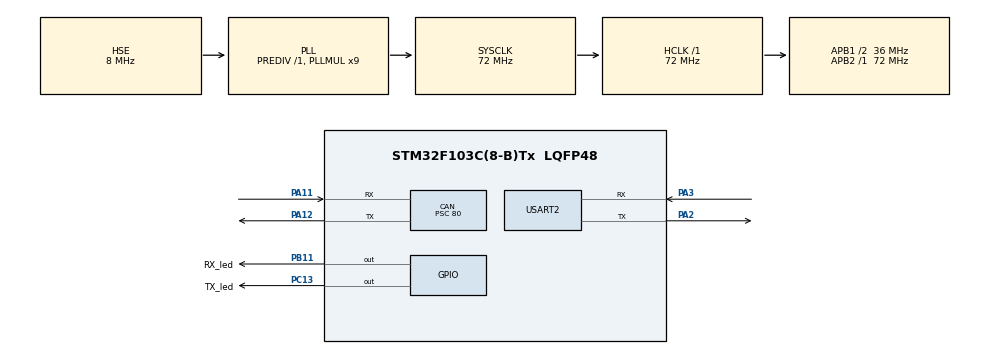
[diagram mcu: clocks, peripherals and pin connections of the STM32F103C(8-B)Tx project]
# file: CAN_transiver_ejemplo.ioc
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CAN.BS1=CAN_BS1_4TQ
CAN.BS2=CAN_BS2_4TQ
CAN.CalculateBaudRate=50000
CAN.CalculateTimeBit=20000
CAN.CalculateTimeQuantum=2222.222222222222
CAN.Prescaler=80
Mcu.Family=STM32F1
Mcu.Name=STM32F103C(8-B)Tx
Mcu.Package=LQFP48
NVIC.CAN1_RX1_IRQn=true\:0\:0\:false\:false\:true\:true\:true\:true
NVIC.PriorityGroup=NVIC_PRIORITYGROUP_4
NVIC.USART2_IRQn=true\:0\:0\:false\:false\:true\:true\:true\:true
PA11.GPIO_PuPd=GPIO_PULLUP
PA11.Mode=CAN_Activate
PA11.Signal=CAN_RX
PA12.Mode=CAN_Activate
PA12.Signal=CAN_TX
PA13.Mode=Serial_Wire
PA13.Signal=SYS_JTMS-SWDIO
PA14.Mode=Serial_Wire
PA14.Signal=SYS_JTCK-SWCLK
PA2.Mode=Asynchronous
PA2.Signal=USART2_TX
PA3.Mode=Asynchronous
PA3.Signal=USART2_RX
PB11.GPIO_Label=RX_led
PB11.Signal=GPIO_Output
PB13.Signal=EVENTOUT
PC13-TAMPER-RTC.GPIO_Label=TX_led
PC13-TAMPER-RTC.GPIO_ModeDefaultOutputPP=GPIO_MODE_OUTPUT_OD
PC13-TAMPER-RTC.GPIO_PuPd=GPIO_NOPULL
PC13-TAMPER-RTC.GPIO_Speed=GPIO_SPEED_FREQ_HIGH
PC13-TAMPER-RTC.PinState=GPIO_PIN_SET
PC13-TAMPER-RTC.Signal=GPIO_Output
PD0-OSC_IN.Mode=HSE-External-Oscillator
PD0-OSC_IN.Signal=RCC_OSC_IN
PD1-OSC_OUT.Mode=HSE-External-Oscillator
PD1-OSC_OUT.Signal=RCC_OSC_OUT
ProjectManager.HeapSize=0x200
ProjectManager.StackSize=0x400
ProjectManager.TargetToolchain=STM32CubeIDE
RCC.AHBFreq_Value=72000000
RCC.APB1CLKDivider=RCC_HCLK_DIV2
RCC.APB1Freq_Value=36000000
RCC.APB1TimFreq_Value=72000000
RCC.APB2Freq_Value=72000000
RCC.APB2TimFreq_Value=72000000
RCC.HCLKFreq_Value=72000000
RCC.PLLMUL=RCC_PLL_MUL9
RCC.PLLSourceVirtual=RCC_PLLSOURCE_HSE
RCC.SYSCLKFreq_VALUE=72000000
RCC.SYSCLKSource=RCC_SYSCLKSOURCE_PLLCLK
RCC.USBFreq_Value=72000000
USART2.VirtualMode=VM_ASYNC
board=custom

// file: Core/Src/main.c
/* USER CODE BEGIN Header */
/**
  ******************************************************************************
  * @file           : main.c
  * @brief          : Main program body
  ******************************************************************************
  * @attention
  *
  * Copyright (c) 2024 STMicroelectronics.
  * All rights reserved.
  *
  * This software is licensed under terms that can be found in the LICENSE file
  * in the root directory of this software component.
  * If no LICENSE file comes with this software, it is provided AS-IS.
  *
  ******************************************************************************
  */
/* USER CODE END Header */
#include "main.h"

/* USER CODE BEGIN Includes */
//NATIVAS DE C
#include "stdio.h"
#include "string.h"
#include "stdbool.h"
//PROPIAS

/* USER CODE END Includes */

/* USER CODE BEGIN PD */
#define ID_reciver 0x0A //ID del receptor
#define ID_transferee 0x0B //ID del transsmisor, este mcu
/* USER CODE END PD */

CAN_HandleTypeDef hcan;

UART_HandleTypeDef huart2;

/* USER CODE BEGIN PV */

//Objectos del CAN
CAN_TxHeaderTypeDef   TxHeader;
CAN_RxHeaderTypeDef   RxHeader;
CAN_FilterTypeDef canfilterconfig;
//buffers del CAN tx
uint8_t TxData[] = {'H','o','l','a',' ','?','?','?'};
uint8_t RxData[8] = {0};
uint32_t TxMailbox;

/* USER CODE END PV */

void SystemClock_Config(void);
static void MX_GPIO_Init(void);
static void MX_CAN_Init(void);
static void MX_USART2_UART_Init(void);

/* USER CODE BEGIN 0 */

//BANDERAS
bool datacheck = false;

//MSG Fijos para uart
uint8_t msg_ok[] = "OK_IN\r\n";

/* USER CODE END 0 */

int main(void)
{

  /* MCU Configuration--------------------------------------------------------*/

  /* Reset of all peripherals, Initializes the Flash interface and the Systick. */
  HAL_Init();

  /* Configure the system clock */
  SystemClock_Config();

  /* Initialize all configured peripherals */
  MX_GPIO_Init();
  MX_CAN_Init();
  MX_USART2_UART_Init();
  /* USER CODE BEGIN 2 */

  HAL_CAN_Start(&hcan);
  HAL_CAN_ActivateNotification(&hcan, CAN_IT_RX_FIFO0_MSG_PENDING);

  /* USER CODE END 2 */

  /* Infinite loop */
  while (1)
  {

    /* USER CODE BEGIN 3 */

	  /*
	   * MANDAMOS INFO AL BUS
	   */
	if (HAL_CAN_AddTxMessage(&hcan, &TxHeader, TxData, &TxMailbox) != HAL_OK) {
		Error_Handler();
	}else { //No hubo problema en lanzar la informacion
		for (int i = 0; i < 4; i++)
		{
			HAL_GPIO_TogglePin(TX_led_GPIO_Port, TX_led_Pin);
			HAL_Delay(50);
		}
		HAL_Delay(5000);
	}

	/*
	 * REVIMOS INFO
	 */
  }
  /* USER CODE END 3 */
}

void SystemClock_Config(void)
{
  RCC_OscInitTypeDef RCC_OscInitStruct = {0};
  RCC_ClkInitTypeDef RCC_ClkInitStruct = {0};

  /** Initializes the RCC Oscillators according to the specified parameters
  * in the RCC_OscInitTypeDef structure.
  */
  RCC_OscInitStruct.OscillatorType = RCC_OSCILLATORTYPE_HSE;
  RCC_OscInitStruct.HSEState = RCC_HSE_ON;
  RCC_OscInitStruct.HSEPredivValue = RCC_HSE_PREDIV_DIV1;
  RCC_OscInitStruct.HSIState = RCC_HSI_ON;
  RCC_OscInitStruct.PLL.PLLState = RCC_PLL_ON;
  RCC_OscInitStruct.PLL.PLLSource = RCC_PLLSOURCE_HSE;
  RCC_OscInitStruct.PLL.PLLMUL = RCC_PLL_MUL9;
  if (HAL_RCC_OscConfig(&RCC_OscInitStruct) != HAL_OK)
  {
    Error_Handler();
  }

  /** Initializes the CPU, AHB and APB buses clocks
  */
  RCC_ClkInitStruct.ClockType = RCC_CLOCKTYPE_HCLK|RCC_CLOCKTYPE_SYSCLK
                              |RCC_CLOCKTYPE_PCLK1|RCC_CLOCKTYPE_PCLK2;
  RCC_ClkInitStruct.SYSCLKSource = RCC_SYSCLKSOURCE_PLLCLK;
  RCC_ClkInitStruct.AHBCLKDivider = RCC_SYSCLK_DIV1;
  RCC_ClkInitStruct.APB1CLKDivider = RCC_HCLK_DIV2;
  RCC_ClkInitStruct.APB2CLKDivider = RCC_HCLK_DIV1;

  if (HAL_RCC_ClockConfig(&RCC_ClkInitStruct, FLASH_LATENCY_2) != HAL_OK)
  {
    Error_Handler();
  }
}

static void MX_CAN_Init(void)
{

  hcan.Instance = CAN1;
  hcan.Init.Prescaler = 80;
  hcan.Init.Mode = CAN_MODE_NORMAL;
  hcan.Init.SyncJumpWidth = CAN_SJW_1TQ;
  hcan.Init.TimeSeg1 = CAN_BS1_4TQ;
  hcan.Init.TimeSeg2 = CAN_BS2_4TQ;
  hcan.Init.TimeTriggeredMode = DISABLE;
  hcan.Init.AutoBusOff = DISABLE;
  hcan.Init.AutoWakeUp = DISABLE;
  hcan.Init.AutoRetransmission = DISABLE;
  hcan.Init.ReceiveFifoLocked = DISABLE;
  hcan.Init.TransmitFifoPriority = DISABLE;
  if (HAL_CAN_Init(&hcan) != HAL_OK)
  {
    Error_Handler();
  }
  /* USER CODE BEGIN CAN_Init 2 */

  //Rellenamos el TXheader
  TxHeader.IDE = CAN_ID_STD; //Estamos usando el standa
  TxHeader.StdId = ID_transferee; //ID del trnasmisor
  TxHeader.RTR = CAN_RTR_DATA; //Vamos a mandar dataframes
  TxHeader.DLC = sizeof(TxData); //Cantidad de bytes que vamos a mandar

  /* USER CODE END CAN_Init 2 */

}

static void MX_USART2_UART_Init(void)
{

  huart2.Instance = USART2;
  huart2.Init.BaudRate = 115200;
  huart2.Init.WordLength = UART_WORDLENGTH_8B;
  huart2.Init.StopBits = UART_STOPBITS_1;
  huart2.Init.Parity = UART_PARITY_NONE;
  huart2.Init.Mode = UART_MODE_TX_RX;
  huart2.Init.HwFlowCtl = UART_HWCONTROL_NONE;
  huart2.Init.OverSampling = UART_OVERSAMPLING_16;
  if (HAL_UART_Init(&huart2) != HAL_OK)
  {
    Error_Handler();
  }

}

static void MX_GPIO_Init(void)
{
  GPIO_InitTypeDef GPIO_InitStruct = {0};

  /* GPIO Ports Clock Enable */
  __HAL_RCC_GPIOC_CLK_ENABLE();
  __HAL_RCC_GPIOD_CLK_ENABLE();
  __HAL_RCC_GPIOA_CLK_ENABLE();
  __HAL_RCC_GPIOB_CLK_ENABLE();

  /*Configure GPIO pin Output Level */
  HAL_GPIO_WritePin(TX_led_GPIO_Port, TX_led_Pin, GPIO_PIN_SET);

  /*Configure GPIO pin Output Level */
  HAL_GPIO_WritePin(RX_led_GPIO_Port, RX_led_Pin, GPIO_PIN_RESET);

  /*Configure GPIO pin : TX_led_Pin */
  GPIO_InitStruct.Pin = TX_led_Pin;
  GPIO_InitStruct.Mode = GPIO_MODE_OUTPUT_OD;
  GPIO_InitStruct.Pull = GPIO_NOPULL;
  GPIO_InitStruct.Speed = GPIO_SPEED_FREQ_HIGH;
  HAL_GPIO_Init(TX_led_GPIO_Port, &GPIO_InitStruct);

  /*Configure GPIO pin : RX_led_Pin */
  GPIO_InitStruct.Pin = RX_led_Pin;
  GPIO_InitStruct.Mode = GPIO_MODE_OUTPUT_PP;
  GPIO_InitStruct.Pull = GPIO_NOPULL;
  GPIO_InitStruct.Speed = GPIO_SPEED_FREQ_LOW;
  HAL_GPIO_Init(RX_led_GPIO_Port, &GPIO_InitStruct);

  /*Configure GPIO pin : PB13 */
  GPIO_InitStruct.Pin = GPIO_PIN_13;
  GPIO_InitStruct.Mode = GPIO_MODE_AF_PP;
  GPIO_InitStruct.Speed = GPIO_SPEED_FREQ_LOW;
  HAL_GPIO_Init(GPIOB, &GPIO_InitStruct);

  /*Configures the port and pin on which the EVENTOUT Cortex signal will be connected */
  HAL_GPIOEx_ConfigEventout(AFIO_EVENTOUT_PORT_B, AFIO_EVENTOUT_PIN_13);

  /*Enables the Event Output */
  HAL_GPIOEx_EnableEventout();

}

/* USER CODE BEGIN 4 */
void HAL_CAN_RxFifo0MsgPendingCallback(CAN_HandleTypeDef *hcan)
{

	if (HAL_CAN_GetRxMessage(hcan, CAN_RX_FIFO0, &RxHeader, RxData) != HAL_OK)
    {
      Error_Handler();
    }

    for (int i = 0; i < 4; i++)
	{
		HAL_GPIO_TogglePin(RX_led_GPIO_Port, RX_led_Pin);
		HAL_Delay(50);
	}

    if(RxHeader.IDE == ID_reciver){
    	for (int i = 0; i < 10; i++)
    		{
    			HAL_GPIO_TogglePin(RX_led_GPIO_Port, RX_led_Pin);
    			HAL_Delay(50);
    		}
    }

  }
/* USER CODE END 4 */

void Error_Handler(void)
{
  __disable_irq();
  while (1)
  {
  }
}
